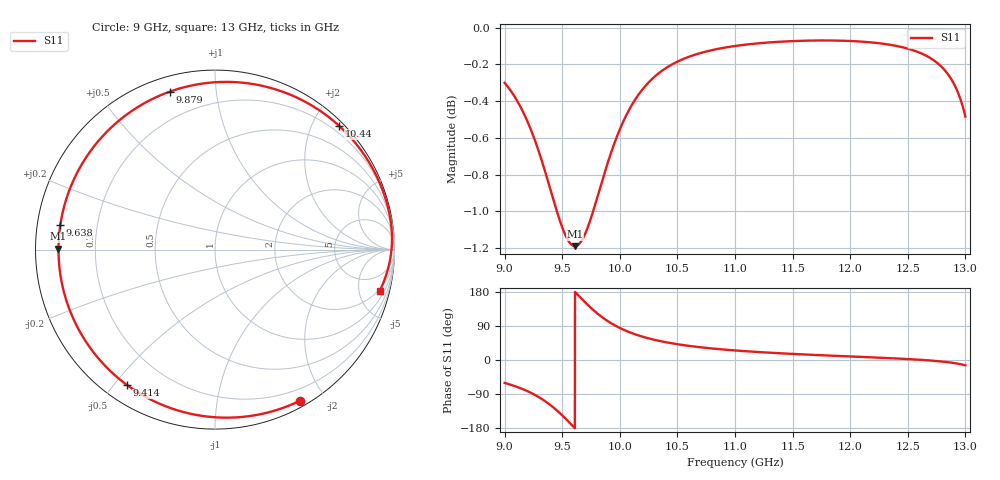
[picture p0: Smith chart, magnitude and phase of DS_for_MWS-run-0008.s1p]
! TOUCHSTONE file generated by CST DESIGN STUDIO
! Date and time: Tue Feb  4 18:04:57 2025
! Project name: C:\Work\MatlabApps\UnitCellOptimizationMatlab\CST\unitcell.cst
! Tree item: Tasks\Sweep1\SPara1\S-Parameters
! Header version: 2024
! Port assignment regex: !\s*Touchstone port\s*([0-9]+)\s*=\s*(CST MWS port|CST DES external port|CST DES block port)\s*(.+)\s* \(\"(.*)\"\)(\s*mode\s*([0-9]+))?.*
! Touchstone port assignment:
! Touchstone port 1 = CST DES external port 1 ("")
# GHz S MA R 50
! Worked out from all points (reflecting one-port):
!   4001 points, 9 GHz to 13 GHz, reference 50 ohm
!   lowest |S11| = -1.2 dB at 9.611 GHz (marker M1), VSWR 14.64, Z = 3.42 + j0.131 ohm
!   phase of S11 starts at -61 deg and turns -314 deg over the sweep
!   S11 on the Smith chart (normalised r, x): 9 GHz: 0.07, -1.71; 9.414 GHz: 0.07, -0.54; 9.638 GHz: 0.07, +0.08; 9.879 GHz: 0.07, +0.75; 10.44 GHz: 0.08, +2.42; 13 GHz: 1.77, -7.70
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9  0.9661 -60.6
9.128  0.9529 -73.3
9.255  0.9334 -90.8
9.34  0.9164 -106.3
9.414  0.8999 -122.9
9.457  0.8906 -134.0
9.5  0.8824 -146.0
9.558  0.8746 -163.5
9.611  0.8721 179.7
9.638  0.8728 171.1
9.695  0.8783 153.4
9.762  0.8901 134.0
9.819  0.9023 119.4
9.879  0.9155 106.0
9.936  0.927 95.0
10  0.9383 84.6
10.094  0.9515 72.1
10.195  0.9619 61.7
10.308  0.9701 52.7
10.437  0.9766 44.9
10.5  0.9789 41.7
10.72  0.9846 32.9
11  0.9886 25.2
11.5  0.9916 16.1
12  0.9917 9.4
12.5  0.987 2.5
12.801  0.9752 -4.2
13  0.9458 -14.1
